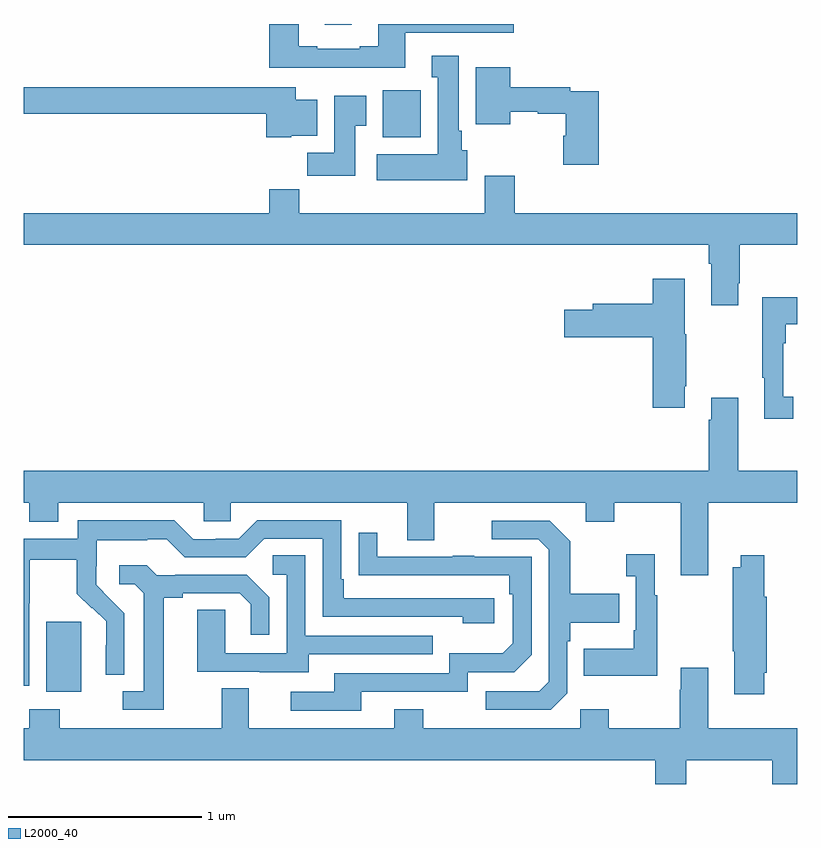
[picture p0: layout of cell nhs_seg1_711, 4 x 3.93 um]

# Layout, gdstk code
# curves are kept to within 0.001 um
import gdstk
lib = gdstk.Library(unit=1e-6, precision=1e-09)
def R(c, l, rs):  # rectangles x0, y0, x1, y1
    for r in rs: c.add(gdstk.rectangle(r[:2], r[2:], *l))
def P(c, l, *ps):  # polygons
    for p in ps: c.add(gdstk.Polygon(p, *l))
L2000_40 = (2000, 40)

nhs_seg1_711 = lib.new_cell('nhs_seg1_711')
R(nhs_seg1_711, L2000_40, [(149.117,558.746,149.296,559.107), (150.857,561.614,151.054,561.856), (150.557,562.194,150.697,562.199)])
P(nhs_seg1_711, L2000_40, [(150.973,562.155),(151.534,562.155),(151.534,562.199),(150.833,562.199),(150.833,562.084),(150.737,562.084),(150.737,562.071),(150.517,562.071),(150.517,562.084),(150.421,562.084),(150.421,562.199),(150.269,562.199),(150.269,561.974),(150.973,561.974)],
  [(151.294,561.546),(151.264,561.546),(151.264,561.646),(151.249,561.646),(151.249,562.036),(151.109,562.036),(151.109,561.923),(151.142,561.923),(151.142,561.526),(150.825,561.526),(150.825,561.392),(151.294,561.392)],
  [(151.973,561.852),(151.826,561.852),(151.826,561.872),(151.516,561.872),(151.516,561.976),(151.337,561.976),(151.337,561.68),(151.516,561.68),(151.516,561.744),(151.659,561.744),(151.659,561.736),(151.802,561.736),(151.802,561.621),(151.79,561.621),(151.79,561.471),(151.973,561.471)],
  [(150.384,561.62),(150.517,561.62),(150.517,561.808),(150.406,561.808),(150.406,561.872),(149,561.872),(149,561.736),(150.254,561.736),(150.254,561.614),(150.384,561.614)],
  [(150.715,561.673),(150.772,561.673),(150.772,561.829),(150.605,561.829),(150.605,561.532),(150.466,561.532),(150.466,561.414),(150.715,561.414)],
  [(152.695,560.857),(152.703,560.857),(152.703,561.056),(153,561.056),(153,561.22),(151.538,561.22),(151.538,561.415),(151.385,561.415),(151.385,561.22),(150.425,561.22),(150.425,561.344),(150.269,561.344),(150.269,561.22),(149,561.22),(149,561.056),(152.543,561.056),(152.543,560.96),(152.555,560.96),(152.555,560.745),(152.695,560.745)],
  [(152.419,560.326),(152.427,560.326),(152.427,560.595),(152.419,560.595),(152.419,560.881),(152.252,560.881),(152.252,560.751),(151.943,560.751),(151.943,560.721),(151.794,560.721),(151.794,560.579),(152.252,560.579),(152.252,560.214),(152.419,560.214)],
  [(152.98,560.27),(152.928,560.27),(152.928,560.549),(152.941,560.549),(152.941,560.645),(153,560.645),(153,560.785),(152.82,560.785),(152.82,560.369),(152.831,560.369),(152.831,560.157),(152.98,560.157)],
  [(152.539,559.724),(153,559.724),(153,559.888),(152.695,559.888),(152.695,560.266),(152.555,560.266),(152.555,560.153),(152.543,560.153),(152.543,559.888),(149,559.888),(149,559.724),(149.027,559.724),(149.027,559.625),(149.179,559.625),(149.179,559.724),(149.931,559.724),(149.931,559.626),(150.069,559.626),(150.069,559.724),(150.983,559.724),(150.983,559.53),(151.123,559.53),(151.123,559.724),(151.907,559.724),(151.907,559.625),(152.055,559.625),(152.055,559.724),(152.399,559.724),(152.399,559.347),(152.539,559.347)],
  [(149.028,559.204),(149.031,559.204),(149.031,559.428),(149.275,559.428),(149.275,559.253),(149.352,559.176),(149.355,559.179),(149.426,559.109),(149.426,558.986),(149.424,558.986),(149.424,558.832),(149.52,558.832),(149.52,559.15),(149.374,559.298),(149.374,559.395),(149.376,559.395),(149.376,559.529),(149.639,559.529),(149.639,559.533),(149.739,559.533),(149.832,559.44),(150.147,559.44),(150.243,559.536),(150.546,559.536),(150.546,559.134),(151.271,559.134),(151.271,559.1),(151.432,559.1),(151.432,559.23),(150.655,559.23),(150.655,559.327),(150.642,559.327),(150.642,559.632),(150.207,559.632),(150.111,559.536),(149.993,559.536),(149.993,559.533),(149.877,559.533),(149.777,559.633),(149.28,559.633),(149.28,559.536),(149,559.536),(149,558.775),(149.028,558.775)],
  [(151.812,558.738),(151.812,559.007),(151.825,559.007),(151.825,559.103),(152.081,559.103),(152.081,559.251),(151.825,559.251),(151.825,559.523),(151.719,559.629),(151.419,559.629),(151.419,559.533),(151.662,559.533),(151.716,559.479),(151.716,558.798),(151.665,558.747),(151.389,558.747),(151.389,558.651),(151.725,558.651)],
  [(150.745,558.744),(151.296,558.744),(151.296,558.846),(151.536,558.846),(151.626,558.936),(151.626,559.443),(151.331,559.443),(151.331,559.448),(151.219,559.448),(151.219,559.443),(150.829,559.443),(150.829,559.567),(150.733,559.567),(150.733,559.348),(151.51,559.347),(151.51,559.25),(151.53,559.25),(151.53,558.996),(151.477,558.943),(151.2,558.943),(151.2,558.84),(150.605,558.84),(150.605,558.744),(150.381,558.744),(150.381,558.648),(150.745,558.648)],
  [(152.275,559.243),(152.263,559.243),(152.263,559.456),(152.115,559.456),(152.115,559.343),(152.166,559.343),(152.166,559.063),(152.154,559.063),(152.154,558.967),(151.897,558.967),(151.897,558.827),(152.275,558.827)],
  [(150.475,558.939),(151.115,558.939),(151.115,559.035),(150.456,559.035),(150.456,559.451),(150.288,559.451),(150.288,559.35),(150.36,559.35),(150.36,558.945),(150.042,558.945),(150.042,559.169),(149.897,559.169),(149.897,558.849),(150.221,558.849),(150.221,558.845),(150.475,558.845)],
  [(152.83,558.844),(152.843,558.844),(152.843,559.237),(152.83,559.237),(152.83,559.45),(152.708,559.45),(152.708,559.39),(152.668,559.39),(152.668,558.955),(152.675,558.955),(152.675,558.732),(152.83,558.732)],
  [(149.725,559.232),(149.821,559.232),(149.821,559.254),(150.116,559.254),(150.173,559.197),(150.173,559.041),(150.27,559.041),(150.27,559.234),(150.154,559.35),(149.782,559.35),(149.782,559.347),(149.688,559.347),(149.636,559.399),(149.493,559.399),(149.493,559.302),(149.574,559.302),(149.621,559.255),(149.621,558.747),(149.511,558.747),(149.511,558.651),(149.725,558.651)],
  [(152.427,558.392),(152.872,558.392),(152.872,558.268),(153,558.268),(153,558.556),(152.539,558.556),(152.539,558.868),(152.399,558.868),(152.399,558.755),(152.392,558.755),(152.392,558.556),(152.025,558.556),(152.025,558.655),(151.878,558.655),(151.878,558.556),(151.065,558.556),(151.065,558.655),(150.917,558.655),(150.917,558.556),(150.163,558.556),(150.163,558.764),(150.023,558.764),(150.023,558.556),(149.187,558.556),(149.187,558.655),(149.027,558.655),(149.027,558.556),(149,558.556),(149,558.392),(152.267,558.392),(152.267,558.268),(152.427,558.268)])

lib.write_gds('nhs_seg1_711.gds')
